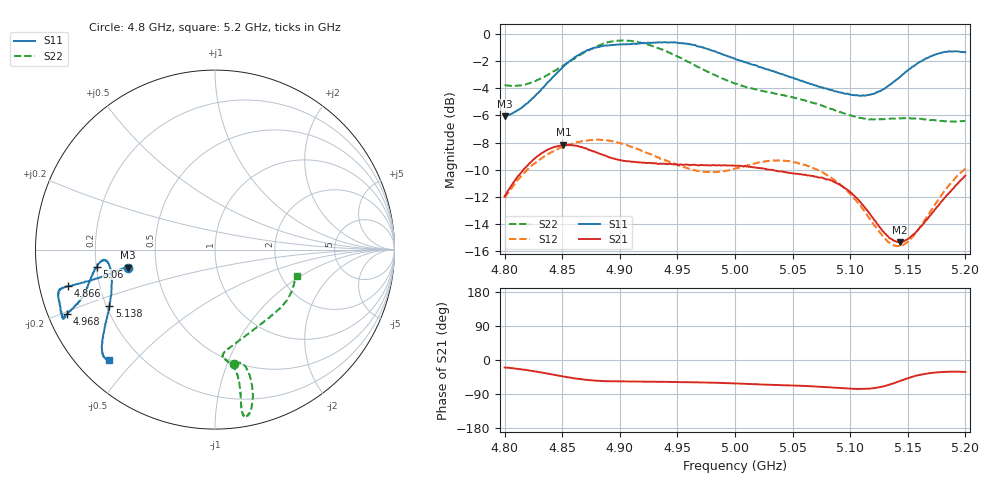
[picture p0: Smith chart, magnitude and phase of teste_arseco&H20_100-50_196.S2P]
! Network Analyzer HP8722D
! Hewlett-Packard
! Data name: Linha & Wilkinson
! Saver's name: Rodrigo Anjos
! Comments: Teste da utilização de aquisição
! continua pelo VNA HP8722D
! Time and date: 6/5/2025 14:12
!  Frequency  S11  S21  S12  S22
# HZ  S  MA R 50
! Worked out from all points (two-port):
!   401 points, 4.8 GHz to 5.2 GHz, reference 50 ohm
!   highest |S21| = -8.16 dB at 4.851 GHz (marker M1); lowest = -15.3 dB at 5.143 GHz (marker M2)
!   |S21| within 3 dB of the highest: 4.806 GHz to 5.092 GHz (286.4 MHz wide, 5.79 % of centre); 5.191523 GHz to end of sweep
!   lowest |S11| = -6.1 dB at 4.8 GHz (marker M3), VSWR 2.98, Z = 16.9 - j4.54 ohm
!   |S11| at or under -10 dB: nowhere
!   |S22| runs from -6.5 to -0.5 dB; largest |S21 - S12| = 0.62
!   S11 on the Smith chart (normalised r, x): 4.8 GHz: 0.34, -0.09; 4.866 GHz: 0.09, -0.12; 4.968 GHz: 0.06, -0.21; 5.06 GHz: 0.20, -0.07; 5.138 GHz: 0.21, -0.24; 5.2 GHz: 0.09, -0.42
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4.8e9  0.4975 -168.3  0.2528 -19.9  0.2497 -141.0  0.6475 -80.4
4.825e9  0.5821 -167.5  0.3445 -29.4  0.332 -144.4  0.666 -75.7
4.851e9  0.757 -166.0  0.3909 -43.6  0.3843 -149.4  0.7643 -74.6
4.866e9  0.8424 -166.0  0.3834 -50.5  0.4016 -152.1  0.8376 -75.4
4.867e9  0.8484 -166.0  0.3836 -50.9  0.4025 -152.2  0.8426 -75.5
4.879e9  0.8899 -165.8  0.3667 -54.5  0.4075 -154.2  0.894 -76.8
4.9e9  0.914 -162.7  0.3433 -56.4  0.396 -156.6  0.9427 -79.2
4.934e9  0.9305 -156.5  0.3324 -57.6  0.351 -155.8  0.8831 -80.5
4.968e9  0.8979 -156.4  0.3288 -59.1  0.3137 -147.7  0.7547 -79.6
5e9  0.8094 -159.1  0.327 -61.9  0.3196 -137.4  0.656 -81.3
5.036e9  0.7216 -165.8  0.3132 -65.9  0.3418 -134.6  0.6013 -85.7
5.06e9  0.666 -171.8  0.3027 -68.3  0.3302 -136.4  0.5698 -84.3
5.067e9  0.6517 -173.1  0.3004 -69.3  0.3224 -136.9  0.5583 -82.7
5.082e9  0.6224 -174.8  0.2908 -72.1  0.2988 -138.4  0.532 -77.1
5.101e9  0.5966 -172.1  0.2602 -75.9  0.255 -138.9  0.5006 -66.4
5.115e9  0.5951 -166.0  0.2234 -75.9  0.215 -135.9  0.4868 -56.5
5.134e9  0.6467 -154.3  0.1776 -65.3  0.1707 -120.6  0.4864 -43.2
5.138e9  0.6679 -151.8  0.1736 -61.0  0.1667 -115.6  0.4876 -40.8
5.143e9  0.692 -149.3  0.1716 -55.7  0.166 -108.9  0.4887 -38.0
5.154e9  0.7568 -144.4  0.182 -44.4  0.1793 -95.0  0.4882 -32.3
5.174e9  0.8394 -138.6  0.227 -32.9  0.2371 -80.4  0.4805 -23.9
5.2e9  0.8549 -133.8  0.3009 -31.4  0.319 -76.9  0.4777 -17.7
